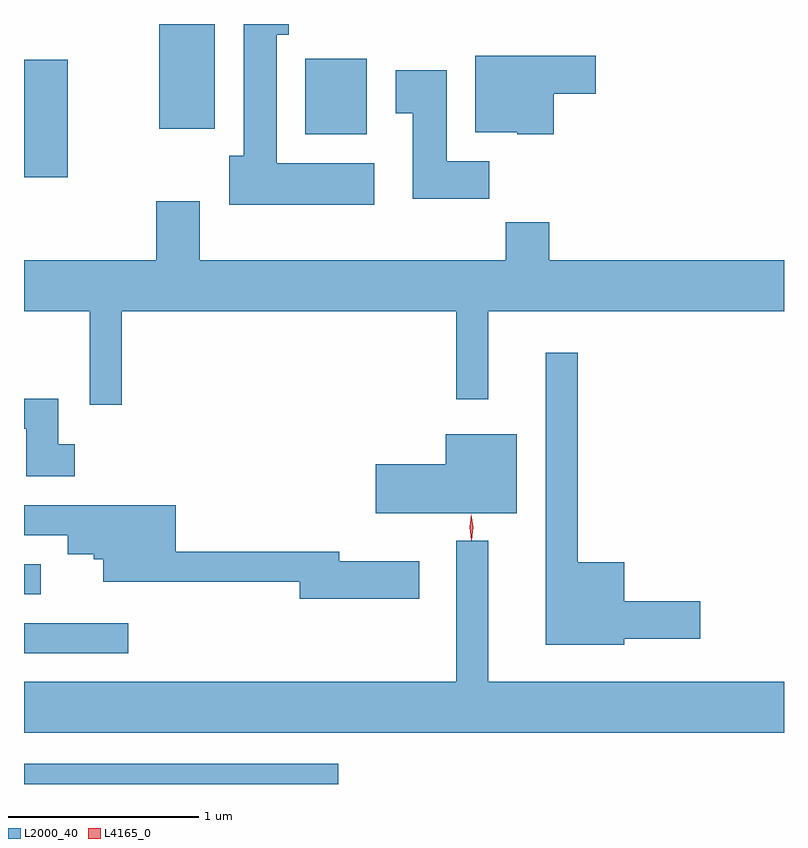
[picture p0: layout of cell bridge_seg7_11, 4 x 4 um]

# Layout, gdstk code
import gdstk
lib = gdstk.Library(unit=1e-6, precision=1e-09)
def R(c, l, rs):  # rectangles x0, y0, x1, y1
    for r in rs: c.add(gdstk.rectangle(r[:2], r[2:], *l))
def P(c, l, *ps):  # polygons
    for p in ps: c.add(gdstk.Polygon(p, *l))
L2000_40 = (2000, 40)
L4165_0 = (4165, 0)

bridge_seg7_11 = lib.new_cell('bridge_seg7_11')
R(bridge_seg7_11, L2000_40, [(1669.025,1758.447,1670.679,1758.554), (1669.025,1759.136,1669.573,1759.294), (1669.025,1759.446,1669.113,1759.604), (1669.025,1761.641,1669.254,1762.259), (1670.506,1761.866,1670.829,1762.264), (1669.736,1761.896,1670.029,1762.447)])
P(bridge_seg7_11, L2000_40, [(1670.869,1761.714),(1670.354,1761.714),(1670.354,1762.391),(1670.418,1762.391),(1670.418,1762.447),(1670.181,1762.447),(1670.181,1761.754),(1670.106,1761.754),(1670.106,1761.496),(1670.869,1761.496)],
  [(1671.814,1762.081),(1672.034,1762.081),(1672.034,1762.279),(1671.401,1762.279),(1671.401,1761.876),(1671.62,1761.876),(1671.62,1761.866),(1671.814,1761.866)],
  [(1671.474,1761.724),(1671.249,1761.724),(1671.249,1762.204),(1670.981,1762.204),(1670.981,1761.976),(1671.071,1761.976),(1671.071,1761.526),(1671.474,1761.526)],
  [(1669.539,1760.936),(1671.301,1760.936),(1671.301,1760.473),(1671.469,1760.473),(1671.469,1760.936),(1673.025,1760.936),(1673.025,1761.204),(1671.789,1761.204),(1671.789,1761.404),(1671.561,1761.404),(1671.561,1761.204),(1669.949,1761.204),(1669.949,1761.514),(1669.721,1761.514),(1669.721,1761.204),(1669.025,1761.204),(1669.025,1760.936),(1669.371,1760.936),(1669.371,1760.443),(1669.539,1760.443)],
  [(1672.184,1759.211),(1672.584,1759.211),(1672.584,1759.409),(1672.184,1759.409),(1672.184,1759.614),(1671.939,1759.614),(1671.939,1760.718),(1671.771,1760.718),(1671.771,1759.181),(1672.184,1759.181)],
  [(1669.293,1760.234),(1669.204,1760.234),(1669.204,1760.474),(1669.025,1760.474),(1669.025,1760.316),(1669.036,1760.316),(1669.036,1760.066),(1669.293,1760.066)],
  [(1671.619,1760.289),(1671.246,1760.289),(1671.246,1760.129),(1670.876,1760.129),(1670.876,1759.871),(1671.619,1759.871)],
  [(1671.104,1759.619),(1670.684,1759.619),(1670.684,1759.669),(1669.824,1759.669),(1669.824,1759.914),(1669.025,1759.914),(1669.025,1759.756),(1669.256,1759.756),(1669.256,1759.656),(1669.391,1759.656),(1669.391,1759.631),(1669.441,1759.631),(1669.441,1759.511),(1670.476,1759.511),(1670.476,1759.421),(1671.104,1759.421)],
  [(1673.025,1758.984),(1671.469,1758.984),(1671.469,1759.728),(1671.301,1759.728),(1671.301,1758.984),(1669.025,1758.984),(1669.025,1758.716),(1673.025,1758.716)])
P(bridge_seg7_11, L4165_0, [(1671.38,1759.733),(1671.38,1759.733),(1671.37,1759.796),(1671.379,1759.859),(1671.379,1759.859),(1671.38,1759.859),(1671.39,1759.796),(1671.381,1759.733)],
  [(1671.38,1759.73),(1671.38,1759.73),(1671.37,1759.798),(1671.379,1759.866),(1671.38,1759.866),(1671.38,1759.866),(1671.39,1759.798),(1671.381,1759.73)])

lib.write_gds('bridge_seg7_11.gds')
